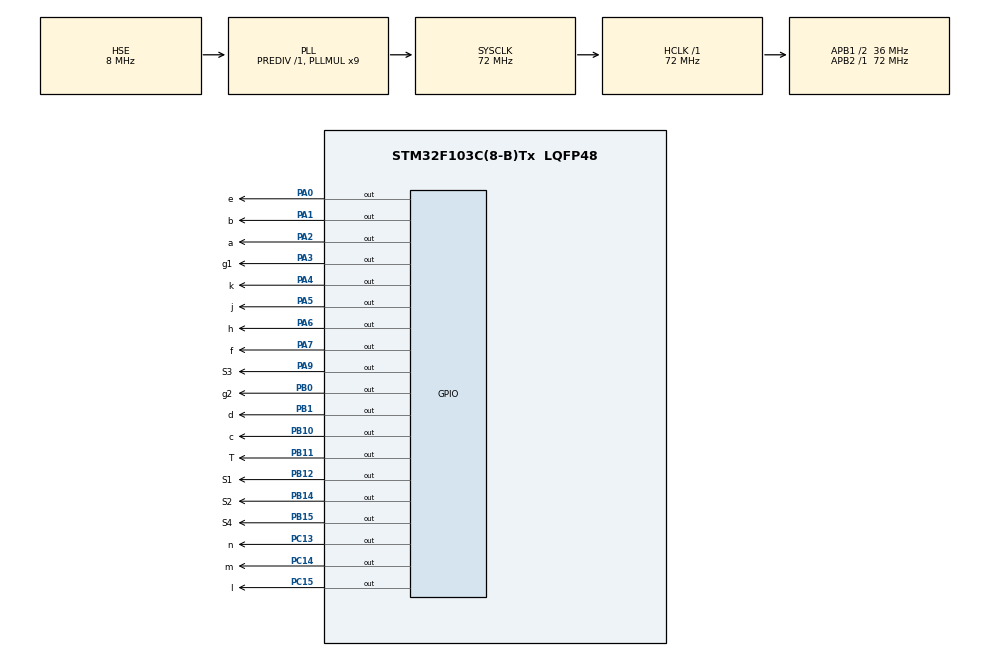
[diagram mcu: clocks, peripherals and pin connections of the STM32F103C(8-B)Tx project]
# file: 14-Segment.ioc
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Mcu.Family=STM32F1
Mcu.Name=STM32F103C(8-B)Tx
Mcu.Package=LQFP48
NVIC.PriorityGroup=NVIC_PRIORITYGROUP_4
NVIC.TIM3_IRQn=true\:0\:0\:false\:false\:true\:true\:true\:true
PA0-WKUP.GPIO_Label=e
PA0-WKUP.PinState=GPIO_PIN_RESET
PA0-WKUP.Signal=GPIO_Output
PA1.GPIO_Label=b
PA1.PinState=GPIO_PIN_RESET
PA1.Signal=GPIO_Output
PA13.Mode=Serial_Wire
PA13.Signal=SYS_JTMS-SWDIO
PA14.Mode=Serial_Wire
PA14.Signal=SYS_JTCK-SWCLK
PA2.GPIO_Label=a
PA2.PinState=GPIO_PIN_RESET
PA2.Signal=GPIO_Output
PA3.GPIO_Label=g1
PA3.PinState=GPIO_PIN_RESET
PA3.Signal=GPIO_Output
PA4.GPIO_Label=k
PA4.PinState=GPIO_PIN_RESET
PA4.Signal=GPIO_Output
PA5.GPIO_Label=j
PA5.PinState=GPIO_PIN_RESET
PA5.Signal=GPIO_Output
PA6.GPIO_Label=h
PA6.PinState=GPIO_PIN_RESET
PA6.Signal=GPIO_Output
PA7.GPIO_Label=f
PA7.PinState=GPIO_PIN_RESET
PA7.Signal=GPIO_Output
PA9.GPIO_Label=S3
PA9.PinState=GPIO_PIN_RESET
PA9.Signal=GPIO_Output
PB0.GPIO_Label=g2
PB0.PinState=GPIO_PIN_RESET
PB0.Signal=GPIO_Output
PB1.GPIO_Label=d
PB1.PinState=GPIO_PIN_RESET
PB1.Signal=GPIO_Output
PB10.GPIO_Label=c
PB10.PinState=GPIO_PIN_RESET
PB10.Signal=GPIO_Output
PB11.GPIO_Label=T
PB11.PinState=GPIO_PIN_RESET
PB11.Signal=GPIO_Output
PB12.GPIO_Label=S1
PB12.PinState=GPIO_PIN_RESET
PB12.Signal=GPIO_Output
PB14.GPIO_Label=S2
PB14.PinState=GPIO_PIN_RESET
PB14.Signal=GPIO_Output
PB15.GPIO_Label=S4
PB15.PinState=GPIO_PIN_RESET
PB15.Signal=GPIO_Output
PC13-TAMPER-RTC.GPIO_Label=n
PC13-TAMPER-RTC.PinState=GPIO_PIN_RESET
PC13-TAMPER-RTC.Signal=GPIO_Output
PC14-OSC32_IN.GPIO_Label=m
PC14-OSC32_IN.PinState=GPIO_PIN_RESET
PC14-OSC32_IN.Signal=GPIO_Output
PC15-OSC32_OUT.GPIO_Label=l
PC15-OSC32_OUT.PinState=GPIO_PIN_RESET
PC15-OSC32_OUT.Signal=GPIO_Output
PD0-OSC_IN.Mode=HSE-External-Oscillator
PD0-OSC_IN.Signal=RCC_OSC_IN
PD1-OSC_OUT.Mode=HSE-External-Oscillator
PD1-OSC_OUT.Signal=RCC_OSC_OUT
ProjectManager.HeapSize=0x200
ProjectManager.StackSize=0x400
ProjectManager.TargetToolchain=STM32CubeIDE
RCC.AHBFreq_Value=72000000
RCC.APB1CLKDivider=RCC_HCLK_DIV2
RCC.APB1Freq_Value=36000000
RCC.APB1TimFreq_Value=72000000
RCC.APB2Freq_Value=72000000
RCC.APB2TimFreq_Value=72000000
RCC.HCLKFreq_Value=72000000
RCC.PLLMUL=RCC_PLL_MUL9
RCC.PLLSourceVirtual=RCC_PLLSOURCE_HSE
RCC.SYSCLKFreq_VALUE=72000000
RCC.SYSCLKSource=RCC_SYSCLKSOURCE_PLLCLK
RCC.USBFreq_Value=72000000
TIM3.Channel-Output\ Compare1\ No\ Output=TIM_CHANNEL_1
TIM3.Period=100
TIM3.Prescaler=3599
VP_TIM3_VS_no_output1.Mode=Output Compare1 No Output
board=custom

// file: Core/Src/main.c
/* USER CODE BEGIN Header */
/**
  ******************************************************************************
  * @file           : main.c
  * @brief          : Main program body
  ******************************************************************************
  * @attention
  *
  * Copyright (c) 2023 STMicroelectronics.
  * All rights reserved.
  *
  * This software is licensed under terms that can be found in the LICENSE file
  * in the root directory of this software component.
  * If no LICENSE file comes with this software, it is provided AS-IS.
  *
  ******************************************************************************
  */
/* USER CODE END Header */
#include "main.h"

/* USER CODE BEGIN Includes */
#include "led.h"
/* USER CODE END Includes */

/* USER CODE BEGIN PTD */
extern uint8_t R1, R2, R3, R4;
/* USER CODE END PTD */

TIM_HandleTypeDef htim3;

void SystemClock_Config(void);
static void MX_GPIO_Init(void);
static void MX_TIM3_Init(void);

/* USER CODE BEGIN 0 */
void pound(void)
{
	R1 ='A';
	R2 ='H';
	R3 ='A';
	R4 ='P';
}

void pound2(void)
{
	R1 ='A';
	R2 ='P';
	R3 ='O';
	R4 ='Z';
}

void digits(void)
{
	R1 = 1 ;
	R2 = 2 ;
	R3 = 3 ;
	R4 = 4 ;
}
void digits2(void)
{
	R1 = 5 ;
	R2 = 6 ;
	R3 = 7 ;
	R4 = 8 ;
}
/* USER CODE END 0 */

int main(void)
{
  /* USER CODE BEGIN 1 */
  // uint16_t i; // переменная для счета до 9999 нашего индикатора
  /* USER CODE END 1 */

  /* MCU Configuration--------------------------------------------------------*/

  /* Reset of all peripherals, Initializes the Flash interface and the Systick. */
  HAL_Init();

  /* Configure the system clock */
  SystemClock_Config();

  /* Initialize all configured peripherals */
  MX_GPIO_Init();
  MX_TIM3_Init();
  /* USER CODE BEGIN 2 */
  HAL_TIM_Base_Start_IT(&htim3);
  /* USER CODE END 2 */

  /* Infinite loop */
  /* USER CODE BEGIN WHILE */

  while (1)
  {
	  pound();
	  HAL_Delay(4000);
      digits();
	  HAL_Delay(4000);
	  pound2();
	  HAL_Delay(4000);
      digits2();
	  HAL_Delay(4000);

    /* USER CODE END WHILE */

  }
}

void SystemClock_Config(void)
{
  RCC_OscInitTypeDef RCC_OscInitStruct = {0};
  RCC_ClkInitTypeDef RCC_ClkInitStruct = {0};

  /** Initializes the RCC Oscillators according to the specified parameters
  * in the RCC_OscInitTypeDef structure.
  */
  RCC_OscInitStruct.OscillatorType = RCC_OSCILLATORTYPE_HSE;
  RCC_OscInitStruct.HSEState = RCC_HSE_ON;
  RCC_OscInitStruct.HSEPredivValue = RCC_HSE_PREDIV_DIV1;
  RCC_OscInitStruct.HSIState = RCC_HSI_ON;
  RCC_OscInitStruct.PLL.PLLState = RCC_PLL_ON;
  RCC_OscInitStruct.PLL.PLLSource = RCC_PLLSOURCE_HSE;
  RCC_OscInitStruct.PLL.PLLMUL = RCC_PLL_MUL9;
  if (HAL_RCC_OscConfig(&RCC_OscInitStruct) != HAL_OK)
  {
    Error_Handler();
  }

  /** Initializes the CPU, AHB and APB buses clocks
  */
  RCC_ClkInitStruct.ClockType = RCC_CLOCKTYPE_HCLK|RCC_CLOCKTYPE_SYSCLK
                              |RCC_CLOCKTYPE_PCLK1|RCC_CLOCKTYPE_PCLK2;
  RCC_ClkInitStruct.SYSCLKSource = RCC_SYSCLKSOURCE_PLLCLK;
  RCC_ClkInitStruct.AHBCLKDivider = RCC_SYSCLK_DIV1;
  RCC_ClkInitStruct.APB1CLKDivider = RCC_HCLK_DIV2;
  RCC_ClkInitStruct.APB2CLKDivider = RCC_HCLK_DIV1;

  if (HAL_RCC_ClockConfig(&RCC_ClkInitStruct, FLASH_LATENCY_2) != HAL_OK)
  {
    Error_Handler();
  }
}

static void MX_TIM3_Init(void)
{

  TIM_MasterConfigTypeDef sMasterConfig = {0};
  TIM_OC_InitTypeDef sConfigOC = {0};

  htim3.Instance = TIM3;
  htim3.Init.Prescaler = 3599;
  htim3.Init.CounterMode = TIM_COUNTERMODE_UP;
  htim3.Init.Period = 100;
  htim3.Init.ClockDivision = TIM_CLOCKDIVISION_DIV1;
  htim3.Init.AutoReloadPreload = TIM_AUTORELOAD_PRELOAD_DISABLE;
  if (HAL_TIM_OC_Init(&htim3) != HAL_OK)
  {
    Error_Handler();
  }
  sMasterConfig.MasterOutputTrigger = TIM_TRGO_RESET;
  sMasterConfig.MasterSlaveMode = TIM_MASTERSLAVEMODE_DISABLE;
  if (HAL_TIMEx_MasterConfigSynchronization(&htim3, &sMasterConfig) != HAL_OK)
  {
    Error_Handler();
  }
  sConfigOC.OCMode = TIM_OCMODE_TIMING;
  sConfigOC.Pulse = 0;
  sConfigOC.OCPolarity = TIM_OCPOLARITY_HIGH;
  sConfigOC.OCFastMode = TIM_OCFAST_DISABLE;
  if (HAL_TIM_OC_ConfigChannel(&htim3, &sConfigOC, TIM_CHANNEL_1) != HAL_OK)
  {
    Error_Handler();
  }

}

static void MX_GPIO_Init(void)
{
  GPIO_InitTypeDef GPIO_InitStruct = {0};

  /* GPIO Ports Clock Enable */
  __HAL_RCC_GPIOC_CLK_ENABLE();
  __HAL_RCC_GPIOD_CLK_ENABLE();
  __HAL_RCC_GPIOA_CLK_ENABLE();
  __HAL_RCC_GPIOB_CLK_ENABLE();

  /*Configure GPIO pin Output Level */
  HAL_GPIO_WritePin(GPIOC, n_Pin|m_Pin|l_Pin, GPIO_PIN_RESET);

  /*Configure GPIO pin Output Level */
  HAL_GPIO_WritePin(GPIOA, e_Pin|b_Pin|a_Pin|g1_Pin
                          |k_Pin|j_Pin|h_Pin|f_Pin
                          |S3_Pin, GPIO_PIN_RESET);

  /*Configure GPIO pin Output Level */
  HAL_GPIO_WritePin(GPIOB, g2_Pin|d_Pin|c_Pin|T_Pin
                          |S1_Pin|S2_Pin|S4_Pin, GPIO_PIN_RESET);

  /*Configure GPIO pins : n_Pin m_Pin l_Pin */
  GPIO_InitStruct.Pin = n_Pin|m_Pin|l_Pin;
  GPIO_InitStruct.Mode = GPIO_MODE_OUTPUT_PP;
  GPIO_InitStruct.Pull = GPIO_NOPULL;
  GPIO_InitStruct.Speed = GPIO_SPEED_FREQ_LOW;
  HAL_GPIO_Init(GPIOC, &GPIO_InitStruct);

  /*Configure GPIO pins : e_Pin b_Pin a_Pin g1_Pin
                           k_Pin j_Pin h_Pin f_Pin
                           S3_Pin */
  GPIO_InitStruct.Pin = e_Pin|b_Pin|a_Pin|g1_Pin
                          |k_Pin|j_Pin|h_Pin|f_Pin
                          |S3_Pin;
  GPIO_InitStruct.Mode = GPIO_MODE_OUTPUT_PP;
  GPIO_InitStruct.Pull = GPIO_NOPULL;
  GPIO_InitStruct.Speed = GPIO_SPEED_FREQ_LOW;
  HAL_GPIO_Init(GPIOA, &GPIO_InitStruct);

  /*Configure GPIO pins : g2_Pin d_Pin c_Pin T_Pin
                           S1_Pin S2_Pin S4_Pin */
  GPIO_InitStruct.Pin = g2_Pin|d_Pin|c_Pin|T_Pin
                          |S1_Pin|S2_Pin|S4_Pin;
  GPIO_InitStruct.Mode = GPIO_MODE_OUTPUT_PP;
  GPIO_InitStruct.Pull = GPIO_NOPULL;
  GPIO_InitStruct.Speed = GPIO_SPEED_FREQ_LOW;
  HAL_GPIO_Init(GPIOB, &GPIO_InitStruct);

}

void Error_Handler(void)
{
  __disable_irq();
  while (1)
  {
  }
}
